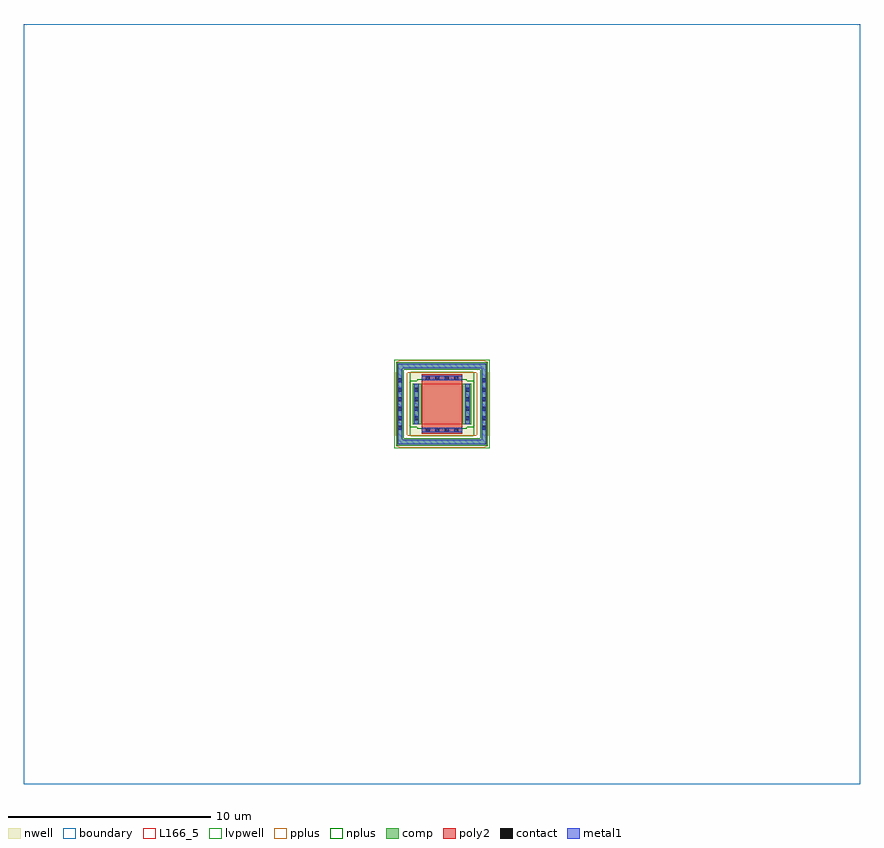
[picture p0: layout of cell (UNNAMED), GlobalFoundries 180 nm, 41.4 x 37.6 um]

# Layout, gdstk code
import gdstk
lib = gdstk.Library(unit=1e-6, precision=1e-09)
def R(c, l, rs):  # rectangles x0, y0, x1, y1
    for r in rs: c.add(gdstk.rectangle(r[:2], r[2:], *l))
def A(c, l, x, y, w, h, nx, ny, dx, dy):  # array of equal rectangles
    R(c, l, [(x+i*dx, y+j*dy, x+i*dx+w, y+j*dy+h) for i in range(nx) for j in range(ny)])
boundary = (0, 0)
nwell = (21, 0)
comp = (22, 0)
poly2 = (30, 0)
pplus = (31, 0)
nplus = (32, 0)
contact = (33, 0)
metal1 = (34, 0)
L166_5 = (166, 5)
lvpwell = (204, 0)

c__unnamed_ = lib.new_cell('(UNNAMED)')
R(c__unnamed_, boundary, [(-20.7,-18.8,20.7,18.8)])
R(c__unnamed_, nwell, [(-1.56,-1.58,1.56,1.58)])
R(c__unnamed_, comp, [(-2.25,-2.06,2.25,-1.7), (-2.25,-1.7,-1.89,1.7), (1.89,-1.7,2.25,1.7), (-1.44,-1,-1,1), (1,-1,1.44,1), (-2.25,1.7,2.25,2.06)])
R(c__unnamed_, poly2, [(-1,-1.46,1,1.46)])
R(c__unnamed_, pplus, [(-2.15,-2.17,2.15,-2.08), (-2.27,-2.08,2.27,-1.575), (-2.28,-1.575,2.28,-1.54), (-2.28,-1.54,-1.73,1.54), (1.73,-1.54,2.28,1.54), (-2.28,1.54,2.28,1.575), (-2.27,1.575,2.27,2.08), (-2.15,2.08,2.15,2.17)])
R(c__unnamed_, nplus, [(-1.23,-1.23,1.23,-1.16), (-1.6,-1.16,1.6,1.16), (-1.23,1.16,1.23,1.23)])
A(c__unnamed_, contact, -0.815, -1.39, 0.22, 0.22, 4, 2, 0.47, 2.56)
A(c__unnamed_, contact, -2.18, -1.285, 0.22, 0.22, 1, 6, 0, 0.47)
A(c__unnamed_, contact, 1.96, -1.285, 0.22, 0.22, 1, 6, 0, 0.47)
A(c__unnamed_, contact, -1.37, -0.815, 0.22, 0.22, 1, 4, 0, 0.47)
A(c__unnamed_, contact, 1.15, -0.815, 0.22, 0.22, 1, 4, 0, 0.47)
R(c__unnamed_, metal1, [(-2.185,-1.995,2.185,-1.765), (-2.185,-1.765,-1.955,1.765), (1.955,-1.765,2.185,1.765), (-0.99,-1.395,0.99,-1.165), (-1.375,-0.99,-1.145,0.99), (1.145,-0.99,1.375,0.99), (-0.99,1.165,0.99,1.395), (-2.185,1.765,2.185,1.995)])
R(c__unnamed_, L166_5, [(-1,-1,1,1)])
R(c__unnamed_, lvpwell, [(-2.37,-2.18,2.37,-1.58), (-2.37,-1.58,-1.56,1.58), (1.56,-1.58,2.37,1.58), (-2.37,1.58,2.37,2.18)])

lib.write_gds('_UNNAMED_.gds')
